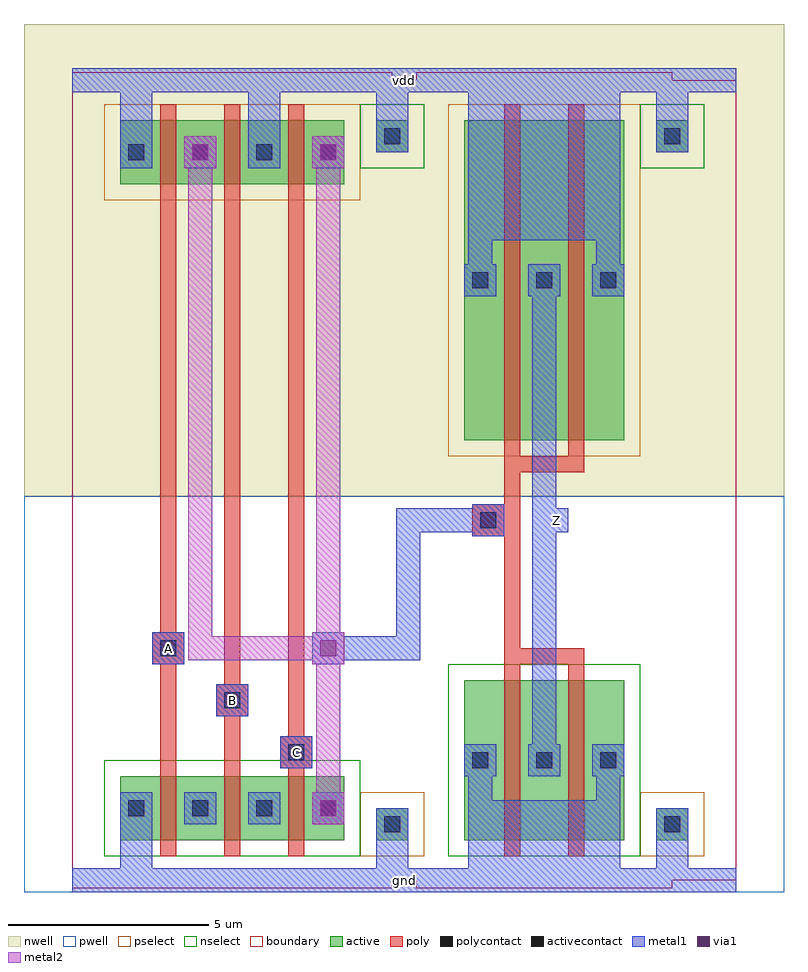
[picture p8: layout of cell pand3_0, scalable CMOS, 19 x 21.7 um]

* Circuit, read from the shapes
.subckt pand3_0 A B C Z gnd vdd
M1 pnand3_1_0/nmos_m1_w1_600_a_p_3/D A gnd gnd nfet w=1.6u l=0.4u
M2 pnand3_1_0/nmos_m1_w1_600_a_p_4/D B pnand3_1_0/nmos_m1_w1_600_a_p_3/D gnd nfet w=1.6u l=0.4u
M3 pinv_7_1/A C pnand3_1_0/nmos_m1_w1_600_a_p_4/D gnd nfet w=1.6u l=0.4u
M4 Z pinv_7_1/A gnd gnd nfet w=4u l=0.4u m=2
M5 pinv_7_1/A A vdd vdd pfet w=1.6u l=0.4u
M6 vdd B pinv_7_1/A vdd pfet w=1.6u l=0.4u
M7 pinv_7_1/A C vdd vdd pfet w=1.6u l=0.4u
M8 Z pinv_7_1/A vdd vdd pfet w=8u l=0.4u m=2
.ends

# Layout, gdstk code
import gdstk
lib = gdstk.Library(unit=1e-6, precision=1e-09)
def R(c, l, rs):  # rectangles x0, y0, x1, y1
    for r in rs: c.add(gdstk.rectangle(r[:2], r[2:], *l))
def A(c, l, x, y, w, h, nx, ny, dx, dy):  # array of equal rectangles
    R(c, l, [(x+i*dx, y+j*dy, x+i*dx+w, y+j*dy+h) for i in range(nx) for j in range(ny)])
pwell = (41, 0)
nwell = (42, 0)
active = (43, 0)
pselect = (44, 0)
nselect = (45, 0)
poly = (46, 0)
polycontact = (47, 0)
activecontact = (48, 0)
metal1 = (49, 0)
via1 = (50, 0)
metal2 = (51, 0)
boundary = (63, 0)

contact_11 = lib.new_cell('contact_11')
R(contact_11, nwell, [(-1.2,-1.2,2,2)])
R(contact_11, active, [(0,0,0.8,0.8)])
R(contact_11, pselect, [(-0.4,-0.4,1.2,1.2)])
R(contact_11, activecontact, [(0.2,0.2,0.6,0.6)])
R(contact_11, metal1, [(0,0,0.8,0.8)])

pmos_m1_w1_600_a_p = lib.new_cell('pmos_m1_w1_600_a_p')
R(pmos_m1_w1_600_a_p, nwell, [(-1.2,-1.2,3.6,2.8)])
R(pmos_m1_w1_600_a_p, active, [(0,0,2.4,1.6)])
R(pmos_m1_w1_600_a_p, pselect, [(-0.4,-0.4,2.8,2)])
R(pmos_m1_w1_600_a_p, poly, [(1,-0.4,1.4,2), (1,-0.4,1.4,2)])
R(pmos_m1_w1_600_a_p, metal1, [(0,0.4,0.8,1.2), (1.6,0.4,2.4,1.2)])
R(pmos_m1_w1_600_a_p, boundary, [(-1.2,-1.2,3.6,2.8)])
pmos_m1_w1_600_a_p.add(gdstk.Reference(contact_11, (0,0.4)))
pmos_m1_w1_600_a_p.add(gdstk.Reference(contact_11, (1.6,0.4)))
pmos_m1_w1_600_a_p.add(gdstk.Label('G', (1.2,0.8), layer=46, texttype=0))
pmos_m1_w1_600_a_p.add(gdstk.Label('S', (0.4,0.8), layer=49, texttype=0))
pmos_m1_w1_600_a_p.add(gdstk.Label('D', (2,0.8), layer=49, texttype=0))

contact_16 = lib.new_cell('contact_16')
R(contact_16, pwell, [(-1.2,-1.2,2,2)])
R(contact_16, active, [(0,0,0.8,0.8)])
R(contact_16, nselect, [(-0.4,-0.4,1.2,1.2)])
R(contact_16, activecontact, [(0.2,0.2,0.6,0.6)])
R(contact_16, metal1, [(0,0,0.8,0.8)])

nmos_m1_w1_600_a_p = lib.new_cell('nmos_m1_w1_600_a_p')
R(nmos_m1_w1_600_a_p, pwell, [(-1.2,-1.2,3.6,2.8)])
R(nmos_m1_w1_600_a_p, active, [(0,0,2.4,1.6)])
R(nmos_m1_w1_600_a_p, nselect, [(-0.4,-0.4,2.8,2)])
R(nmos_m1_w1_600_a_p, poly, [(1,-0.4,1.4,2), (1,-0.4,1.4,2)])
R(nmos_m1_w1_600_a_p, metal1, [(0,0.4,0.8,1.2), (1.6,0.4,2.4,1.2)])
R(nmos_m1_w1_600_a_p, boundary, [(-1.2,-1.2,3.6,2.8)])
nmos_m1_w1_600_a_p.add(gdstk.Reference(contact_16, (0,0.4)))
nmos_m1_w1_600_a_p.add(gdstk.Reference(contact_16, (1.6,0.4)))
nmos_m1_w1_600_a_p.add(gdstk.Label('G', (1.2,0.8), layer=46, texttype=0))
nmos_m1_w1_600_a_p.add(gdstk.Label('S', (0.4,0.8), layer=49, texttype=0))
nmos_m1_w1_600_a_p.add(gdstk.Label('D', (2,0.8), layer=49, texttype=0))

contact_13 = lib.new_cell('contact_13')
R(contact_13, nwell, [(-1.2,-1.2,2,2)])
R(contact_13, active, [(0,0,0.8,0.8)])
R(contact_13, nselect, [(-0.4,-0.4,1.2,1.2)])
R(contact_13, activecontact, [(0.2,0.2,0.6,0.6)])
R(contact_13, metal1, [(0,0,0.8,0.8)])

contact_17 = lib.new_cell('contact_17')
R(contact_17, pwell, [(-1.2,-1.2,2,2)])
R(contact_17, active, [(0,0,0.8,0.8)])
R(contact_17, pselect, [(-0.4,-0.4,1.2,1.2)])
R(contact_17, activecontact, [(0.2,0.2,0.6,0.6)])
R(contact_17, metal1, [(0,0,0.8,0.8)])

contact_12 = lib.new_cell('contact_12')
R(contact_12, poly, [(0,0,0.8,0.8)])
R(contact_12, polycontact, [(0.2,0.2,0.6,0.6)])
R(contact_12, metal1, [(0,0,0.8,0.8)])

contact_14 = lib.new_cell('contact_14')
R(contact_14, metal1, [(0,0,0.8,0.8)])
R(contact_14, via1, [(0.2,0.2,0.6,0.6)])
R(contact_14, metal2, [(0,0,0.8,0.8)])

contact_19 = lib.new_cell('contact_19')
R(contact_19, metal1, [(0,0,0.8,0.8)])
R(contact_19, via1, [(0.2,0.2,0.6,0.6)])
R(contact_19, metal2, [(0,0,0.8,0.8)])

pnand3_1 = lib.new_cell('pnand3_1')
R(pnand3_1, pwell, [(-1.2,-0.3,9.8,9.6)])
R(pnand3_1, nwell, [(-1.2,9.6,9.8,21.4)])
A(pnand3_1, poly, 2.2, 3, 0.4, 14, 3, 1, 1.6, 0)
R(pnand3_1, poly, [(5.4,2.8,5.6,3.6), (3.8,4.1,4,4.9), (2.2,5.4,2.4,6.2)])
R(pnand3_1, metal1, [(0,-0.3,8.6,0.3), (1.2,-0.3,2,1.4), (7.6,0,8.4,1.4), (5.2,2.8,6,3.6), (3.6,4.1,4.4,4.9), (2,5.4,2.8,6.2), (6,5.4,6.8,6.2), (1.2,17.8,2,20.3), (4.4,17.8,5.2,20.3), (7.6,18.6,8.4,20), (0,19.7,8.6,20.3)])
R(pnand3_1, metal2, [(6.1,2.2,6.7,18.2), (6.1,2.2,6.7,5.8), (2.9,5.5,3.5,6.1), (3.2,5.5,6.4,6.1), (6.1,5.5,6.7,6.1), (2.9,5.8,3.5,18.2)])
R(pnand3_1, boundary, [(0,0,8.6,20)])
pnand3_1.add(gdstk.Reference(pmos_m1_w1_600_a_p, (1.2,17.4)))
pnand3_1.add(gdstk.Reference(pmos_m1_w1_600_a_p, (2.8,17.4)))
pnand3_1.add(gdstk.Reference(pmos_m1_w1_600_a_p, (4.4,17.4)))
pnand3_1.add(gdstk.Reference(nmos_m1_w1_600_a_p, (1.2,1)))
pnand3_1.add(gdstk.Reference(nmos_m1_w1_600_a_p, (2.8,1)))
pnand3_1.add(gdstk.Reference(nmos_m1_w1_600_a_p, (4.4,1)))
pnand3_1.add(gdstk.Reference(contact_13, (7.6,18.2)))
pnand3_1.add(gdstk.Reference(contact_17, (7.6,1)))
pnand3_1.add(gdstk.Reference(contact_12, (5.2,2.8)))
pnand3_1.add(gdstk.Reference(contact_12, (3.6,4.1)))
pnand3_1.add(gdstk.Reference(contact_12, (2,5.4)))
pnand3_1.add(gdstk.Reference(contact_14, (2.8,17.8)))
pnand3_1.add(gdstk.Reference(contact_14, (6,17.8)))
pnand3_1.add(gdstk.Reference(contact_14, (6,1.4)))
pnand3_1.add(gdstk.Reference(contact_19, (6,5.4)))
pnand3_1.add(gdstk.Label('gnd', (4.3,0), layer=49, texttype=0))
pnand3_1.add(gdstk.Label('vdd', (4.3,20), layer=49, texttype=0))
pnand3_1.add(gdstk.Label('C', (5.6,3.2), layer=49, texttype=0))
pnand3_1.add(gdstk.Label('B', (4,4.5), layer=49, texttype=0))
pnand3_1.add(gdstk.Label('A', (2.4,5.8), layer=49, texttype=0))
pnand3_1.add(gdstk.Label('Z', (6.4,5.8), layer=49, texttype=0))

pmos_m2_w8_000_a_p = lib.new_cell('pmos_m2_w8_000_a_p')
R(pmos_m2_w8_000_a_p, nwell, [(-1.2,-1.2,5.2,9.2)])
R(pmos_m2_w8_000_a_p, active, [(0,0,4,8)])
R(pmos_m2_w8_000_a_p, pselect, [(-0.4,-0.4,4.4,8.4)])
R(pmos_m2_w8_000_a_p, poly, [(1,-0.8,3,-0.4), (1,-0.4,1.4,8.4), (2.6,-0.4,3,8.4)])
R(pmos_m2_w8_000_a_p, metal1, [(1.6,3.6,2.4,4.4), (0.1,4,0.7,5.3), (3.3,4,3.9,5.3), (0.1,5,3.9,5.6)])
R(pmos_m2_w8_000_a_p, boundary, [(-1.2,-1.2,5.2,9.2)])
pmos_m2_w8_000_a_p.add(gdstk.Reference(contact_11, (0,3.6)))
pmos_m2_w8_000_a_p.add(gdstk.Reference(contact_11, (3.2,3.6)))
pmos_m2_w8_000_a_p.add(gdstk.Reference(contact_11, (1.6,3.6)))
pmos_m2_w8_000_a_p.add(gdstk.Label('G', (2,-0.6), layer=46, texttype=0))
pmos_m2_w8_000_a_p.add(gdstk.Label('S', (2,5.3), layer=49, texttype=0))
pmos_m2_w8_000_a_p.add(gdstk.Label('D', (2,4), layer=49, texttype=0))

nmos_m2_w4_000_a_p = lib.new_cell('nmos_m2_w4_000_a_p')
R(nmos_m2_w4_000_a_p, pwell, [(-1.2,-1.2,5.2,5.2)])
R(nmos_m2_w4_000_a_p, active, [(0,0,4,4)])
R(nmos_m2_w4_000_a_p, nselect, [(-0.4,-0.4,4.4,4.4)])
R(nmos_m2_w4_000_a_p, poly, [(1,-0.4,1.4,4.4), (2.6,-0.4,3,4.4), (1,4.4,3,4.8)])
R(nmos_m2_w4_000_a_p, metal1, [(0.1,0.4,3.9,1), (0.1,0.7,0.7,2), (3.3,0.7,3.9,2), (1.6,1.6,2.4,2.4)])
R(nmos_m2_w4_000_a_p, boundary, [(-1.2,-1.2,5.2,5.2)])
nmos_m2_w4_000_a_p.add(gdstk.Reference(contact_16, (0,1.6)))
nmos_m2_w4_000_a_p.add(gdstk.Reference(contact_16, (3.2,1.6)))
nmos_m2_w4_000_a_p.add(gdstk.Reference(contact_16, (1.6,1.6)))
nmos_m2_w4_000_a_p.add(gdstk.Label('G', (2,4.6), layer=46, texttype=0))
nmos_m2_w4_000_a_p.add(gdstk.Label('S', (2,0.7), layer=49, texttype=0))
nmos_m2_w4_000_a_p.add(gdstk.Label('D', (2,2), layer=49, texttype=0))

pinv_7 = lib.new_cell('pinv_7')
R(pinv_7, pwell, [(-1.2,-0.3,9.2,9.6)])
R(pinv_7, nwell, [(-1.2,9.6,9.2,21.4)])
R(pinv_7, poly, [(2.2,5.8,2.6,10.2), (1.8,8.6,2.2,9.4)])
R(pinv_7, metal1, [(0,-0.3,8,0.3), (1.3,-0.3,5.1,1.4), (6,0,6.8,1.4), (2.9,2.6,3.5,15.4), (1.4,8.6,2.2,9.4), (3.2,8.7,3.8,9.3), (1.3,16,5.1,20.3), (6,18.6,6.8,20), (0,19.7,8,20.3)])
R(pinv_7, boundary, [(0,0,8,20)])
pinv_7.add(gdstk.Reference(pmos_m2_w8_000_a_p, (1.2,11)))
pinv_7.add(gdstk.Reference(nmos_m2_w4_000_a_p, (1.2,1)))
pinv_7.add(gdstk.Reference(contact_13, (6,18.2)))
pinv_7.add(gdstk.Reference(contact_17, (6,1)))
pinv_7.add(gdstk.Reference(contact_12, (1.4,8.6)))
pinv_7.add(gdstk.Label('gnd', (4,0), layer=49, texttype=0))
pinv_7.add(gdstk.Label('vdd', (4,20), layer=49, texttype=0))
pinv_7.add(gdstk.Label('A', (1.8,9), layer=49, texttype=0))
pinv_7.add(gdstk.Label('Z', (3.5,9), layer=49, texttype=0))

pand3_0 = lib.new_cell('pand3_0')
R(pand3_0, metal1, [(0,-0.3,16.6,0.3), (5.2,2.8,6,3.6), (3.6,4.1,4.4,4.9), (2,5.4,2.8,6.2), (6.4,5.5,8.4,6.1), (8.1,5.5,8.7,6.1), (8.1,5.8,8.7,9), (8.1,8.7,8.7,9.3), (8.4,8.7,10.4,9.3), (11.8,8.7,12.4,9.3), (0,19.7,16.6,20.3)])
R(pand3_0, boundary, [(0,0,16.6,20)])
pand3_0.add(gdstk.Reference(pnand3_1, (0,0)))
pand3_0.add(gdstk.Reference(pinv_7, (8.6,0)))
pand3_0.add(gdstk.Label('vdd', (8.3,20), layer=49, texttype=0))
pand3_0.add(gdstk.Label('gnd', (8.3,0), layer=49, texttype=0))
pand3_0.add(gdstk.Label('Z', (12.1,9), layer=49, texttype=0))
pand3_0.add(gdstk.Label('A', (2.4,5.8), layer=49, texttype=0))
pand3_0.add(gdstk.Label('B', (4,4.5), layer=49, texttype=0))
pand3_0.add(gdstk.Label('C', (5.6,3.2), layer=49, texttype=0))

lib.write_gds('pand3_0.gds')
